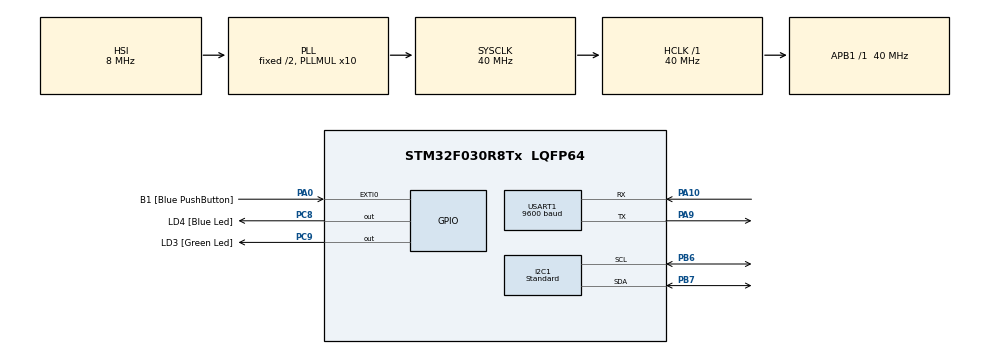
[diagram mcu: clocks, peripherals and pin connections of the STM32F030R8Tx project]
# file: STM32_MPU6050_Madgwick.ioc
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I2C1.I2C_Speed_Mode=I2C_Standard
I2C1.Timing=0x2000090E
Mcu.Family=STM32F0
Mcu.Name=STM32F030R8Tx
Mcu.Package=LQFP64
PA0.GPIO_Label=B1 [Blue PushButton]
PA0.GPIO_ModeDefaultEXTI=GPIO_MODE_EVT_RISING
PA0.Signal=GPXTI0
PA10.Mode=Asynchronous
PA10.Signal=USART1_RX
PA13.GPIO_Label=SWDIO
PA13.Signal=SYS_SWDIO
PA14.GPIO_Label=SWCLK
PA14.Signal=SYS_SWCLK
PA9.Mode=Asynchronous
PA9.Signal=USART1_TX
PB6.Mode=I2C
PB6.Signal=I2C1_SCL
PB7.Mode=I2C
PB7.Signal=I2C1_SDA
PC8.GPIO_Label=LD4 [Blue Led]
PC8.Signal=GPIO_Output
PC9.GPIO_Label=LD3 [Green Led]
PC9.Signal=GPIO_Output
ProjectManager.HeapSize=0x200
ProjectManager.StackSize=0x400
ProjectManager.TargetToolchain=MDK-ARM V5
RCC.AHBFreq_Value=40000000
RCC.APB1Freq_Value=40000000
RCC.APB1TimFreq_Value=40000000
RCC.HCLKFreq_Value=40000000
RCC.PLLMUL=RCC_PLL_MUL10
RCC.SYSCLKFreq_VALUE=40000000
RCC.SYSCLKSource=RCC_SYSCLKSOURCE_PLLCLK
USART1.BaudRate=9600
USART1.VirtualMode-Asynchronous=VM_ASYNC
board=STM32F0308-DISCO

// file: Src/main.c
/**
  ******************************************************************************
  * File Name          : main.c
  * Description        : Main program body
  ******************************************************************************
  ** This notice applies to any and all portions of this file
  * that are not between comment pairs USER CODE BEGIN and
  * USER CODE END. Other portions of this file, whether
  * inserted by the user or by software development tools
  * are owned by their respective copyright owners.
  *
  * COPYRIGHT(c) 2017 STMicroelectronics
  *
  * Redistribution and use in source and binary forms, with or without modification,
  * are permitted provided that the following conditions are met:
  *   1. Redistributions of source code must retain the above copyright notice,
  *      this list of conditions and the following disclaimer.
  *   2. Redistributions in binary form must reproduce the above copyright notice,
  *      this list of conditions and the following disclaimer in the documentation
  *      and/or other materials provided with the distribution.
  *   3. Neither the name of STMicroelectronics nor the names of its contributors
  *      may be used to endorse or promote products derived from this software
  *      without specific prior written permission.
  *
  * THIS SOFTWARE IS PROVIDED BY THE COPYRIGHT HOLDERS AND CONTRIBUTORS "AS IS"
  * AND ANY EXPRESS OR IMPLIED WARRANTIES, INCLUDING, BUT NOT LIMITED TO, THE
  * IMPLIED WARRANTIES OF MERCHANTABILITY AND FITNESS FOR A PARTICULAR PURPOSE ARE
  * DISCLAIMED. IN NO EVENT SHALL THE COPYRIGHT HOLDER OR CONTRIBUTORS BE LIABLE
  * FOR ANY DIRECT, INDIRECT, INCIDENTAL, SPECIAL, EXEMPLARY, OR CONSEQUENTIAL
  * DAMAGES (INCLUDING, BUT NOT LIMITED TO, PROCUREMENT OF SUBSTITUTE GOODS OR
  * SERVICES; LOSS OF USE, DATA, OR PROFITS; OR BUSINESS INTERRUPTION) HOWEVER
  * CAUSED AND ON ANY THEORY OF LIABILITY, WHETHER IN CONTRACT, STRICT LIABILITY,
  * OR TORT (INCLUDING NEGLIGENCE OR OTHERWISE) ARISING IN ANY WAY OUT OF THE USE
  * OF THIS SOFTWARE, EVEN IF ADVISED OF THE POSSIBILITY OF SUCH DAMAGE.
  *
  ******************************************************************************
  */
#include "main.h"
#include "stm32f0xx_hal.h"
#include "i2c.h"
#include "usart.h"
#include "gpio.h"
#include "mpu6050_HAL.h"

/* USER CODE BEGIN PV */
/* Private variables ---------------------------------------------------------*/
SD_MPU6050 mpu1;

/* USER CODE END PV */

void SystemClock_Config(void);

/* USER CODE BEGIN PFP */
/* Private function prototypes -----------------------------------------------*/

/* USER CODE END PFP */

int main(void)
{

  /* MCU Configuration----------------------------------------------------------*/

  /* Reset of all peripherals, Initializes the Flash interface and the Systick. */
  HAL_Init();

  /* Configure the system clock */
  SystemClock_Config();

  /* Initialize all configured peripherals */
  MX_GPIO_Init();
  MX_I2C1_Init();
  MX_USART1_UART_Init();

  /* Infinite loop */
  /* USER CODE BEGIN WHILE */
  while (1)
  {
		SD_MPU6050_Result result ;

		result = SD_MPU6050_Init(&hi2c1,&mpu1,SD_MPU6050_Device_0,SD_MPU6050_Accelerometer_2G,SD_MPU6050_Gyroscope_250s );
	  HAL_Delay(500);

	  if(result == SD_MPU6050_Result_Ok)
	  {
		  printf("looks good\n\r");

	  }
	  else
	  {
		  printf("Not good\n\r");
	  }
	  HAL_Delay(500);
	  SD_MPU6050_ReadTemperature(&hi2c1,&mpu1);
	  float temper = mpu1.Temperature;
	  SD_MPU6050_ReadGyroscope(&hi2c1,&mpu1);
	  int16_t g_x = mpu1.Gyroscope_X;
	  int16_t g_y = mpu1.Gyroscope_Y;
	  int16_t g_z = mpu1.Gyroscope_Z;

	  SD_MPU6050_ReadAccelerometer(&hi2c1,&mpu1);
	  int16_t a_x = mpu1.Accelerometer_X;
	  int16_t a_y = mpu1.Accelerometer_Y;
	  int16_t a_z = mpu1.Accelerometer_Z;

  /* USER CODE END WHILE */

  }

}

/** System Clock Configuration
*/
void SystemClock_Config(void)
{

  RCC_OscInitTypeDef RCC_OscInitStruct;
  RCC_ClkInitTypeDef RCC_ClkInitStruct;
  RCC_PeriphCLKInitTypeDef PeriphClkInit;

    /**Initializes the CPU, AHB and APB busses clocks
    */
  RCC_OscInitStruct.OscillatorType = RCC_OSCILLATORTYPE_HSI;
  RCC_OscInitStruct.HSIState = RCC_HSI_ON;
  RCC_OscInitStruct.HSICalibrationValue = 16;
  RCC_OscInitStruct.PLL.PLLState = RCC_PLL_ON;
  RCC_OscInitStruct.PLL.PLLSource = RCC_PLLSOURCE_HSI;
  RCC_OscInitStruct.PLL.PLLMUL = RCC_PLL_MUL10;
  RCC_OscInitStruct.PLL.PREDIV = RCC_PREDIV_DIV1;
  if (HAL_RCC_OscConfig(&RCC_OscInitStruct) != HAL_OK)
  {
    _Error_Handler(__FILE__, __LINE__);
  }

    /**Initializes the CPU, AHB and APB busses clocks
    */
  RCC_ClkInitStruct.ClockType = RCC_CLOCKTYPE_HCLK|RCC_CLOCKTYPE_SYSCLK
                              |RCC_CLOCKTYPE_PCLK1;
  RCC_ClkInitStruct.SYSCLKSource = RCC_SYSCLKSOURCE_PLLCLK;
  RCC_ClkInitStruct.AHBCLKDivider = RCC_SYSCLK_DIV1;
  RCC_ClkInitStruct.APB1CLKDivider = RCC_HCLK_DIV1;

  if (HAL_RCC_ClockConfig(&RCC_ClkInitStruct, FLASH_LATENCY_1) != HAL_OK)
  {
    _Error_Handler(__FILE__, __LINE__);
  }

  PeriphClkInit.PeriphClockSelection = RCC_PERIPHCLK_USART1|RCC_PERIPHCLK_I2C1;
  PeriphClkInit.Usart1ClockSelection = RCC_USART1CLKSOURCE_PCLK1;
  PeriphClkInit.I2c1ClockSelection = RCC_I2C1CLKSOURCE_HSI;
  if (HAL_RCCEx_PeriphCLKConfig(&PeriphClkInit) != HAL_OK)
  {
    _Error_Handler(__FILE__, __LINE__);
  }

    /**Configure the Systick interrupt time
    */
  HAL_SYSTICK_Config(HAL_RCC_GetHCLKFreq()/1000);

    /**Configure the Systick
    */
  HAL_SYSTICK_CLKSourceConfig(SYSTICK_CLKSOURCE_HCLK);

  /* SysTick_IRQn interrupt configuration */
  HAL_NVIC_SetPriority(SysTick_IRQn, 0, 0);
}

void _Error_Handler(char * file, int line)
{
  while(1)
  {
  }
}

/************************ (C) COPYRIGHT STMicroelectronics *****END OF FILE****/
